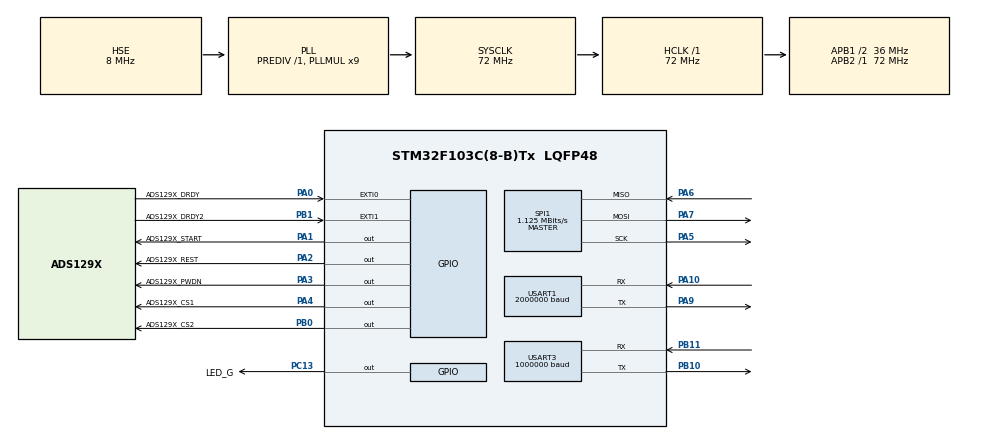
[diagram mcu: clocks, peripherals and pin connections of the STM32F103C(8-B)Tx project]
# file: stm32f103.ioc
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Dma.Request0=USART1_RX
Dma.Request1=USART1_TX
Dma.USART1_RX.0.Direction=DMA_PERIPH_TO_MEMORY
Dma.USART1_RX.0.Instance=DMA1_Channel5
Dma.USART1_RX.0.MemDataAlignment=DMA_MDATAALIGN_BYTE
Dma.USART1_RX.0.MemInc=DMA_MINC_ENABLE
Dma.USART1_RX.0.Mode=DMA_NORMAL
Dma.USART1_RX.0.PeriphDataAlignment=DMA_PDATAALIGN_BYTE
Dma.USART1_RX.0.PeriphInc=DMA_PINC_DISABLE
Dma.USART1_RX.0.Priority=DMA_PRIORITY_LOW
Dma.USART1_TX.1.Direction=DMA_MEMORY_TO_PERIPH
Dma.USART1_TX.1.Instance=DMA1_Channel4
Dma.USART1_TX.1.MemDataAlignment=DMA_MDATAALIGN_BYTE
Dma.USART1_TX.1.MemInc=DMA_MINC_ENABLE
Dma.USART1_TX.1.Mode=DMA_NORMAL
Dma.USART1_TX.1.PeriphDataAlignment=DMA_PDATAALIGN_BYTE
Dma.USART1_TX.1.PeriphInc=DMA_PINC_DISABLE
Dma.USART1_TX.1.Priority=DMA_PRIORITY_LOW
Mcu.Family=STM32F1
Mcu.Name=STM32F103C(8-B)Tx
Mcu.Package=LQFP48
NVIC.DMA1_Channel4_IRQn=true\:1\:0\:true\:false\:true\:false\:true\:true
NVIC.DMA1_Channel5_IRQn=true\:1\:0\:true\:false\:true\:false\:true\:true
NVIC.EXTI0_IRQn=true\:0\:0\:false\:false\:true\:true\:true\:true
NVIC.PriorityGroup=NVIC_PRIORITYGROUP_2
NVIC.USART1_IRQn=true\:1\:0\:true\:false\:true\:true\:true\:true
PA0-WKUP.GPIO_Label=ADS129X_DRDY
PA0-WKUP.GPIO_ModeDefaultEXTI=GPIO_MODE_IT_FALLING
PA0-WKUP.Signal=GPXTI0
PA1.GPIO_Label=ADS129X_START
PA1.GPIO_Speed=GPIO_SPEED_FREQ_HIGH
PA1.Signal=GPIO_Output
PA10.Mode=Asynchronous
PA10.Signal=USART1_RX
PA13.Mode=Serial_Wire
PA13.Signal=SYS_JTMS-SWDIO
PA14.Mode=Serial_Wire
PA14.Signal=SYS_JTCK-SWCLK
PA2.GPIO_Label=ADS129X_REST
PA2.GPIO_Speed=GPIO_SPEED_FREQ_HIGH
PA2.Signal=GPIO_Output
PA3.GPIO_Label=ADS129X_PWDN
PA3.GPIO_Speed=GPIO_SPEED_FREQ_HIGH
PA3.Signal=GPIO_Output
PA4.GPIO_Label=ADS129X_CS1
PA4.GPIO_Speed=GPIO_SPEED_FREQ_HIGH
PA4.PinState=GPIO_PIN_SET
PA4.Signal=GPIO_Output
PA5.Mode=Full_Duplex_Master
PA5.Signal=SPI1_SCK
PA6.Mode=Full_Duplex_Master
PA6.Signal=SPI1_MISO
PA7.Mode=Full_Duplex_Master
PA7.Signal=SPI1_MOSI
PA9.Mode=Asynchronous
PA9.Signal=USART1_TX
PB0.GPIO_Label=ADS129X_CS2
PB0.GPIO_Speed=GPIO_SPEED_FREQ_HIGH
PB0.PinState=GPIO_PIN_SET
PB0.Signal=GPIO_Output
PB1.GPIO_Label=ADS129X_DRDY2
PB1.GPIO_ModeDefaultEXTI=GPIO_MODE_IT_FALLING
PB1.Signal=GPXTI1
PB10.Mode=Asynchronous
PB10.Signal=USART3_TX
PB11.Mode=Asynchronous
PB11.Signal=USART3_RX
PC13-TAMPER-RTC.GPIO_Label=LED_G
PC13-TAMPER-RTC.GPIO_Speed=GPIO_SPEED_FREQ_HIGH
PC13-TAMPER-RTC.Signal=GPIO_Output
PD0-OSC_IN.Mode=HSE-External-Oscillator
PD0-OSC_IN.Signal=RCC_OSC_IN
PD1-OSC_OUT.Mode=HSE-External-Oscillator
PD1-OSC_OUT.Signal=RCC_OSC_OUT
ProjectManager.HeapSize=0x200
ProjectManager.StackSize=0x400
ProjectManager.TargetToolchain=MDK-ARM V5.27
RCC.AHBFreq_Value=72000000
RCC.APB1CLKDivider=RCC_HCLK_DIV2
RCC.APB1Freq_Value=36000000
RCC.APB1TimFreq_Value=72000000
RCC.APB2Freq_Value=72000000
RCC.APB2TimFreq_Value=72000000
RCC.HCLKFreq_Value=72000000
RCC.PLLMUL=RCC_PLL_MUL9
RCC.PLLSourceVirtual=RCC_PLLSOURCE_HSE
RCC.SYSCLKFreq_VALUE=72000000
RCC.SYSCLKSource=RCC_SYSCLKSOURCE_PLLCLK
RCC.USBFreq_Value=48000000
RCC.USBPrescaler=RCC_USBCLKSOURCE_PLL_DIV1_5
SPI1.BaudRatePrescaler=SPI_BAUDRATEPRESCALER_64
SPI1.CLKPhase=SPI_PHASE_2EDGE
SPI1.CalculateBaudRate=1.125 MBits/s
SPI1.Direction=SPI_DIRECTION_2LINES
SPI1.Mode=SPI_MODE_MASTER
SPI1.VirtualType=VM_MASTER
USART1.BaudRate=2000000
USART1.VirtualMode=VM_ASYNC
USART3.BaudRate=1000000
USART3.VirtualMode=VM_ASYNC
board=custom

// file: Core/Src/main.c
/* USER CODE BEGIN Header */
/**
  ******************************************************************************
  * @file           : main.c
  * @brief          : Main program body
  ******************************************************************************
  * @attention
  *
  * Copyright (c) 2025 STMicroelectronics.
  * All rights reserved.
  *
  * This software is licensed under terms that can be found in the LICENSE file
  * in the root directory of this software component.
  * If no LICENSE file comes with this software, it is provided AS-IS.
  *
  ******************************************************************************
  */
/* USER CODE END Header */
#include "main.h"
#include "dma.h"
#include "spi.h"
#include "usart.h"
#include "gpio.h"

/* USER CODE BEGIN Includes */
#include "stdio.h"
#include "ring_buffer.h"
#include "ads1299.h"
#include "cmd_frame.h"
#include "delay.h"
/* USER CODE END Includes */

/* USER CODE BEGIN PV */

// 每个从缓存区，获取的采样数据长度，单位字节
#define READ_BUFFER_LEN  2240  //2000*0.02*56

// 采样数据缓存区
uint8_t read_buffer[READ_BUFFER_LEN];

// 环形缓存区，用于缓存采样数据
ring_buffer_t g_ads129x_ring_buffer;

// 采集状态标置位
uint8_t g_sample_status;

/* USER CODE END PV */

void SystemClock_Config(void);

int main(void)
{

  /* MCU Configuration--------------------------------------------------------*/

  /* Reset of all peripherals, Initializes the Flash interface and the Systick. */
  HAL_Init();

  /* USER CODE BEGIN Init */
  delay_init(72);
  /* USER CODE END Init */

  /* Configure the system clock */
  SystemClock_Config();

  /* Initialize all configured peripherals */
  MX_GPIO_Init();
  MX_DMA_Init();
  MX_USART1_UART_Init();
  MX_SPI1_Init();
  MX_USART3_UART_Init();
  /* USER CODE BEGIN 2 */

	// ADS1299初始化
  ads1299_init();

	// ADS1299初始化成功LED亮，否则灭
	if(ads1299_info[0].init_state && ads1299_info[1].init_state)
	{
	   LED_L;
	}
	else
	{
	   LED_H;
	}

	// 初始化环形缓存区
  if (!ring_buffer_init(&g_ads129x_ring_buffer, READ_BUFFER_LEN*2)) {
       printf("ads129x_ring_buffer init fail! \n");
       return -1;
  }

  /* USER CODE END 2 */

  /* Infinite loop */
  while (1)
  {

    /* USER CODE BEGIN 3 */

		// 接收串口数据包
		if(g_usart1_buff.rx_done > 0)
		{
			 g_usart1_buff.rx_done = 0;

			 // 解析指令-》执行指令
			 command_parser(g_usart1_buff.rx,g_usart1_buff.rx_len);

			 memset(g_usart1_buff.rx,0,g_usart1_buff.rx_len);
			 g_usart1_buff.rx_len = 0;

			 // 开始DMA接收串口数据
			 HAL_UART_Receive_DMA(&huart1,g_usart1_buff.rx,USART_RX_BUFF_SIZE);
		}

		if(g_sys_var.sample_state == 1)
		{
			// 判断采样缓存区，是否达到READ_BUFFER_LEN字节，如果达到，则需要从缓存区读取数据
			if(g_ads129x_ring_buffer.dataCount >= READ_BUFFER_LEN)
			{
					 // 从环形缓存区提取READ_BUFFER_LEN
					 ring_buffer_read(&g_ads129x_ring_buffer,read_buffer,READ_BUFFER_LEN);

				   // 将缓存的数据，计算成电压值，单位uV
					 uint8_t n_num = READ_BUFFER_LEN/28;
					 for(uint8_t n = 0;n < n_num ; n++)
					 {
							static float chx_val[8];
							for (uint8_t ch = 0; ch < 8; ch++)
							{
								 uint16_t index = 28*n + 1 + 3 + 3 * ch;
								 float val = ((int32_t)(read_buffer[index] << 24 | read_buffer[index + 1] << 16 | read_buffer[index + 2] << 8)) / 256.0f;

								 // ((2*4.5)/2^24)*10^6  =  0.5364
								 chx_val[ch] = (val * 0.5364f) / ads1299_info[0].pga;  // 单位uV
							}
							memcpy(ack_frame_info.data+32*n , (uint8_t *)chx_val,32);
					 }

					 // 数据帧打包
					 ack_frame_info_pack_2(&ack_frame_info,0x00,CMD_RAW_DATA,n_num*32);

					 // 串口发送数据包
					 HAL_UART_Transmit_DMA(&huart1, (uint8_t *)(&ack_frame_info), ack_frame_info.frame_length);
			}
		}
  }
  /* USER CODE END 3 */
}

void SystemClock_Config(void)
{
  RCC_OscInitTypeDef RCC_OscInitStruct = {0};
  RCC_ClkInitTypeDef RCC_ClkInitStruct = {0};

  /** Initializes the RCC Oscillators according to the specified parameters
  * in the RCC_OscInitTypeDef structure.
  */
  RCC_OscInitStruct.OscillatorType = RCC_OSCILLATORTYPE_HSE;
  RCC_OscInitStruct.HSEState = RCC_HSE_ON;
  RCC_OscInitStruct.HSEPredivValue = RCC_HSE_PREDIV_DIV1;
  RCC_OscInitStruct.HSIState = RCC_HSI_ON;
  RCC_OscInitStruct.PLL.PLLState = RCC_PLL_ON;
  RCC_OscInitStruct.PLL.PLLSource = RCC_PLLSOURCE_HSE;
  RCC_OscInitStruct.PLL.PLLMUL = RCC_PLL_MUL9;
  if (HAL_RCC_OscConfig(&RCC_OscInitStruct) != HAL_OK)
  {
    Error_Handler();
  }

  /** Initializes the CPU, AHB and APB buses clocks
  */
  RCC_ClkInitStruct.ClockType = RCC_CLOCKTYPE_HCLK|RCC_CLOCKTYPE_SYSCLK
                              |RCC_CLOCKTYPE_PCLK1|RCC_CLOCKTYPE_PCLK2;
  RCC_ClkInitStruct.SYSCLKSource = RCC_SYSCLKSOURCE_PLLCLK;
  RCC_ClkInitStruct.AHBCLKDivider = RCC_SYSCLK_DIV1;
  RCC_ClkInitStruct.APB1CLKDivider = RCC_HCLK_DIV2;
  RCC_ClkInitStruct.APB2CLKDivider = RCC_HCLK_DIV1;

  if (HAL_RCC_ClockConfig(&RCC_ClkInitStruct, FLASH_LATENCY_2) != HAL_OK)
  {
    Error_Handler();
  }
}

void Error_Handler(void)
{
  __disable_irq();
  while (1)
  {
  }
}
